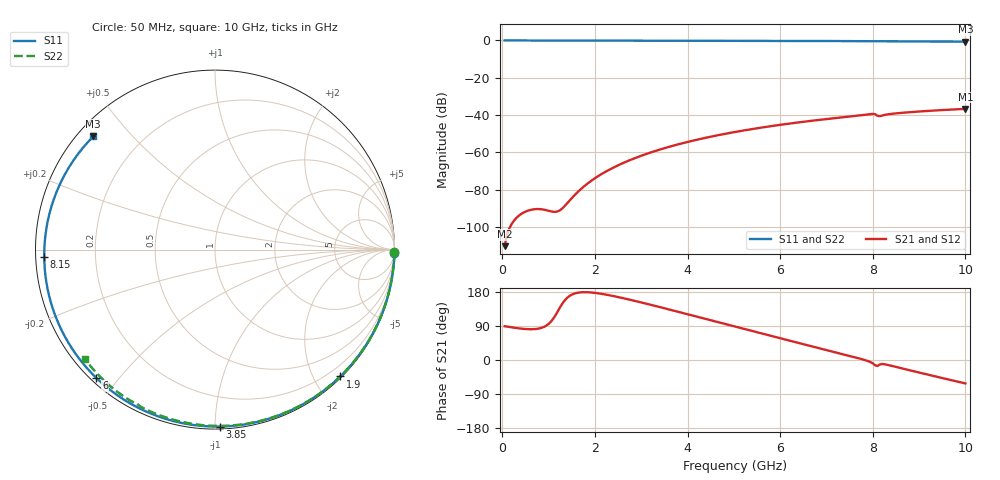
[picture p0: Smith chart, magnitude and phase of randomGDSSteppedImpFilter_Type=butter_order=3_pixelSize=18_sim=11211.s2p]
! freq	dB(S11)	phase(S11)	dB(S12)	phase(S12)
!  dB(S21)	phase(S21)	dB(S22)	phase(S22)
!S-par simulation data
#  GHz  S  DB  R 50
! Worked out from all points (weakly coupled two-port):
!   200 points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, 50 MHz to 10 GHz, reference 50 ohm
!   highest |S21| = -36.72 dB at 10 GHz (marker M1); lowest = -110.4 dB at 50 MHz (marker M2)
!   lowest |S11| = -0.7 dB at 10 GHz (marker M3), VSWR 26.03, Z = 2.22 + j19.6 ohm
!   |S11| at or under -10 dB: nowhere
!   |S22| runs from -0.5 to 0.0 dB; largest |S21 - S12| = 0
!   S11 on the Smith chart (normalised r, x): 50 MHz: 0, -93; 1.9 GHz: 0.02, -2.39; 3.85 GHz: 0.01, -1.03; 6 GHz: 0.02, -0.44; 8.15 GHz: 0.02, -0.02; 10 GHz: 0.04, +0.39
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0.05  -0.00 -1.2  -110.42 89.2  -110.42 89.2  -0.00 -0.8
0.8  -0.02 -19.4  -90.51 83.3  -90.51 83.3  -0.02 -12.9
1.65  -0.05 -39.5  -80.84 177.9  -80.84 177.9  -0.03 -26.4
1.7  -0.05 -40.7  -79.71 178.6  -79.71 178.6  -0.03 -27.1
1.75  -0.05 -41.9  -78.63 179.0  -78.63 179.0  -0.04 -27.9
1.9  -0.06 -45.3  -75.70 178.4  -75.70 178.4  -0.04 -30.3
2.2  -0.07 -52.2  -70.89 173.4  -70.89 173.4  -0.04 -34.9
2.55  -0.08 -60.2  -66.44 164.8  -66.44 164.8  -0.05 -40.3
2.95  -0.09 -69.1  -62.34 153.4  -62.34 153.4  -0.06 -46.4
3.4  -0.10 -78.9  -58.57 139.7  -58.57 139.7  -0.07 -53.1
3.85  -0.12 -88.5  -55.42 125.6  -55.42 125.6  -0.08 -59.7
4.45  -0.14 -101.1  -51.92 106.5  -51.92 106.5  -0.10 -68.4
5.05  -0.17 -113.4  -49.02 87.4  -49.02 87.4  -0.12 -76.8
6  -0.23 -132.7  -45.29 57.4  -45.29 57.4  -0.16 -89.7
6.7  -0.28 -146.9  -43.05 35.6  -43.05 35.6  -0.19 -98.9
7.35  -0.34 -160.4  -41.25 15.5  -41.25 15.5  -0.23 -107.2
8  -0.41 -174.3  -39.41 -8.9  -39.41 -8.9  -0.29 -115.6
8.15  -0.43 -177.6  -40.66 -11.9  -40.66 -11.9  -0.33 -117.2
8.35  -0.45 177.9  -39.57 -13.7  -39.57 -13.7  -0.32 -119.7
8.8  -0.50 167.6  -38.49 -27.2  -38.49 -27.2  -0.35 -125.3
9.2  -0.55 157.9  -37.80 -38.9  -37.80 -38.9  -0.39 -130.2
10  -0.67 137.1  -36.72 -61.9  -36.72 -61.9  -0.48 -140.0
